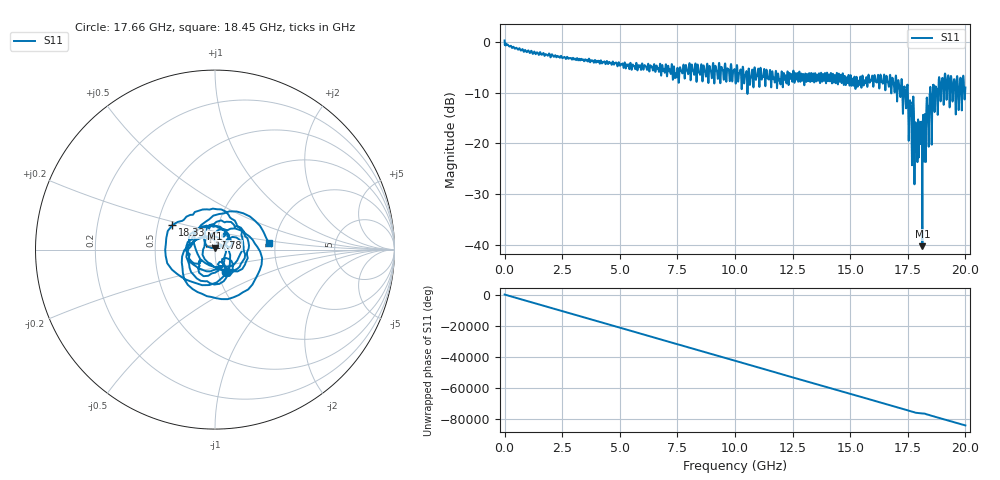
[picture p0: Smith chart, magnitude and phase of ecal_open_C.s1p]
! MS46122B
! 2250307/22442219
! 6/15/2025 8:09:56 AM
! C:\USERS\SPARKY\DOCUMENTS\VNA_DATA\JUNE15_2025\3.2K\ECAL_OPEN_C.S1P
! CHANNEL.1
! TR.MEASUREMENT
! RAW.DATA
# GHZ S RI R 50.0
! FREQ.GHZ  S11RE  S11IM
!; PortSelection: Port_1
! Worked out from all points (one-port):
!   10001 points, 1 MHz to 20 GHz, reference 50 ohm
!   lowest |S11| = -40.2 dB at 18.13 GHz (marker M1), VSWR 1.02, Z = 50 + j0.975 ohm
!   |S11| at or under -10 dB: 17.39116 GHz to 17.45738 GHz (66.22 MHz wide, 0.38 % of centre); 17.5 GHz to 18.46 GHz (952.8 MHz wide, 5.3 % of centre); 18.49 GHz to 18.59 GHz (94.75 MHz wide, 0.511 % of centre) (the widest 3 of 19)
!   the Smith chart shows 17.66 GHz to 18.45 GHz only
!   S11 on the Smith chart (normalised r, x): 17.66 GHz: 1.10, -0.28; 17.78 GHz: 0.93, +0.12; 18.33 GHz: 0.60, +0.18; 18.45 GHz: 1.85, +0.14
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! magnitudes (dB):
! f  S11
! 1 MHz  0.2
! 2.501 GHz  -3.2
! 5.001 GHz  -4.6
! 7.501 GHz  -5.1
! 7.947 GHz  -6.0
! 10 GHz  -5.9
! 10.47 GHz  -6.2
! 10.93 GHz  -6.9
! 12.5 GHz  -7.4
! 15 GHz  -7.2
! 16.91 GHz  -9.2
! 17.41 GHz  -12.0
! 17.5 GHz  -9.3
! 17.56 GHz  -16.1
! 17.61 GHz  -11.9
! 17.66 GHz  -17.0
! 17.78 GHz  -22.8
! 17.88 GHz  -21.2
! 18.13 GHz  -40.2
! 18.33 GHz  -11.3
! 18.4 GHz  -20.3
! 18.45 GHz  -10.4
! 18.54 GHz  -20.1
! 18.6 GHz  -8.7
! 18.93 GHz  -11.5
! 19.45 GHz  -11.5
! 19.65 GHz  -6.9
! 20 GHz  -9.0
